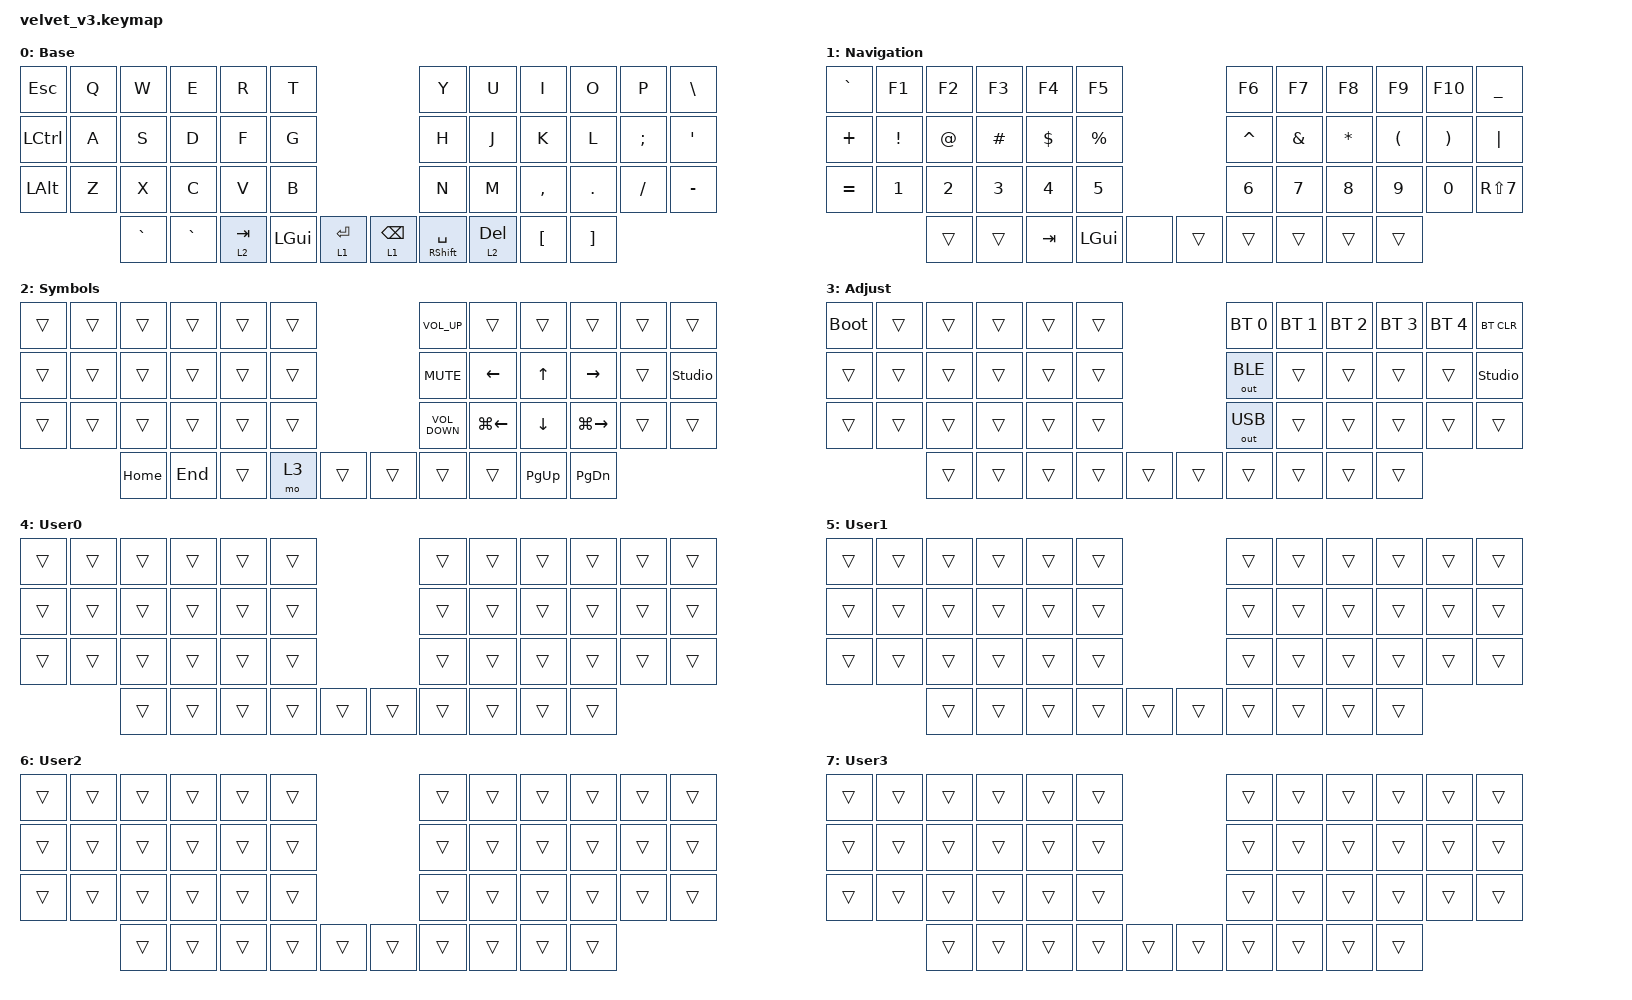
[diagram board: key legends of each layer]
#include <behaviors.dtsi>
#include <dt-bindings/zmk/bt.h>
#include <dt-bindings/zmk/keys.h>
#include <dt-bindings/zmk/outputs.h>

/ {
    keymap {
        compatible = "zmk,keymap";

        Base {
            bindings = <
&kp ESC       &kp Q  &kp W      &kp E      &kp R      &kp T                                         &kp Y                  &kp U      &kp I      &kp O     &kp P      &kp BACKSLASH
&kp LCTRL     &kp A  &kp S      &kp D      &kp F      &kp G                                         &kp H                  &kp J      &kp K      &kp L     &kp SEMI   &kp SINGLE_QUOTE
&kp LEFT_ALT  &kp Z  &kp X      &kp C      &kp V      &kp B                                         &kp N                  &kp M      &kp COMMA  &kp DOT   &kp SLASH  &kp MINUS
                     &kp GRAVE  &kp GRAVE  &lt 2 TAB  &kp LEFT_GUI  &lt 1 ENTER    &lt 1 BACKSPACE  &mt RIGHT_SHIFT SPACE  &lt 2 DEL  &kp LBKT   &kp RBKT
            >;

            label = "Base";
        };

        Navigation {
            bindings = <
&kp GRAVE  &kp F1        &kp F2        &kp F3        &kp F4        &kp F5                         &kp F6        &kp F7         &kp F8        &kp F9                &kp F10                &kp UNDER
&kp PLUS   &kp EXCL      &kp AT_SIGN   &kp HASH      &kp DOLLAR    &kp PERCENT                    &kp CARET     &kp AMPERSAND  &kp ASTRK     &kp LEFT_PARENTHESIS  &kp RIGHT_PARENTHESIS  &kp PIPE
&kp EQUAL  &kp NUMBER_1  &kp NUMBER_2  &kp NUMBER_3  &kp NUMBER_4  &kp NUMBER_5                   &kp NUMBER_6  &kp NUMBER_7   &kp NUMBER_8  &kp NUMBER_9          &kp NUMBER_0           &kp RS(N7)
                         &trans        &trans        &kp TAB       &kp LEFT_GUI  &none    &trans  &trans        &trans         &trans        &trans
            >;

            label = "Navigation";
        };

        Symbols {
            bindings = <
&trans  &trans  &trans    &trans   &trans  &trans                    &kp C_VOLUME_UP    &trans              &trans          &trans               &trans  &trans
&trans  &trans  &trans    &trans   &trans  &trans                    &kp K_MUTE         &kp LEFT_ARROW      &kp UP_ARROW    &kp RIGHT_ARROW      &trans  &studio_unlock
&trans  &trans  &trans    &trans   &trans  &trans                    &kp C_VOLUME_DOWN  &kp LG(LEFT_ARROW)  &kp DOWN_ARROW  &kp LG(RIGHT_ARROW)  &trans  &trans
                &kp HOME  &kp END  &trans  &mo 3   &trans    &trans  &trans             &trans              &kp PAGE_UP     &kp PAGE_DOWN
            >;

            label = "Symbols";
        };

        Adjust {
            bindings = <
&bootloader  &trans  &trans  &trans  &trans  &trans                    &bt BT_SEL 0  &bt BT_SEL 1  &bt BT_SEL 2  &bt BT_SEL 3  &bt BT_SEL 4  &bt BT_CLR
&trans       &trans  &trans  &trans  &trans  &trans                    &out OUT_BLE  &trans        &trans        &trans        &trans        &studio_unlock
&trans       &trans  &trans  &trans  &trans  &trans                    &out OUT_USB  &trans        &trans        &trans        &trans        &trans
                     &trans  &trans  &trans  &trans  &trans    &trans  &trans        &trans        &trans        &trans
            >;

            label = "Adjust";
        };

        User0 {
            bindings = <
&trans  &trans  &trans  &trans  &trans  &trans                    &trans  &trans  &trans  &trans  &trans  &trans
&trans  &trans  &trans  &trans  &trans  &trans                    &trans  &trans  &trans  &trans  &trans  &trans
&trans  &trans  &trans  &trans  &trans  &trans                    &trans  &trans  &trans  &trans  &trans  &trans
                &trans  &trans  &trans  &trans  &trans    &trans  &trans  &trans  &trans  &trans
            >;

            label = "User0";
        };

        User1 {
            bindings = <
&trans  &trans  &trans  &trans  &trans  &trans                    &trans  &trans  &trans  &trans  &trans  &trans
&trans  &trans  &trans  &trans  &trans  &trans                    &trans  &trans  &trans  &trans  &trans  &trans
&trans  &trans  &trans  &trans  &trans  &trans                    &trans  &trans  &trans  &trans  &trans  &trans
                &trans  &trans  &trans  &trans  &trans    &trans  &trans  &trans  &trans  &trans
            >;

            label = "User1";
        };

        User2 {
            bindings = <
&trans  &trans  &trans  &trans  &trans  &trans                    &trans  &trans  &trans  &trans  &trans  &trans
&trans  &trans  &trans  &trans  &trans  &trans                    &trans  &trans  &trans  &trans  &trans  &trans
&trans  &trans  &trans  &trans  &trans  &trans                    &trans  &trans  &trans  &trans  &trans  &trans
                &trans  &trans  &trans  &trans  &trans    &trans  &trans  &trans  &trans  &trans
            >;

            label = "User2";
        };

        User3 {
            bindings = <
&trans  &trans  &trans  &trans  &trans  &trans                    &trans  &trans  &trans  &trans  &trans  &trans
&trans  &trans  &trans  &trans  &trans  &trans                    &trans  &trans  &trans  &trans  &trans  &trans
&trans  &trans  &trans  &trans  &trans  &trans                    &trans  &trans  &trans  &trans  &trans  &trans
                &trans  &trans  &trans  &trans  &trans    &trans  &trans  &trans  &trans  &trans
            >;

            label = "User3";
        };
    };
};
